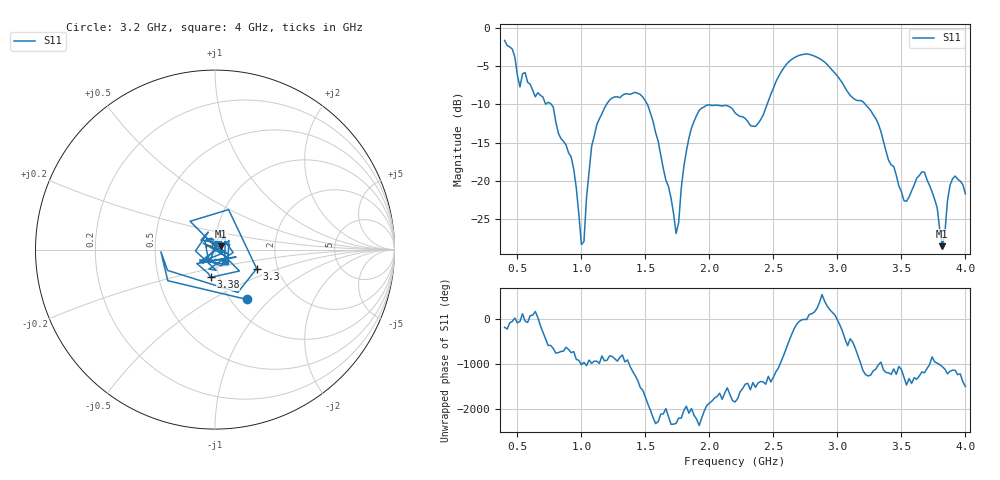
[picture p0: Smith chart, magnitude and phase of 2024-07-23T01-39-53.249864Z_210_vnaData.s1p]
!Created with skrf (http://scikit-rf.org).
# Hz S RI R 50.0
!freq ReS11 ImS11
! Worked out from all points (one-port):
!   181 points, 400 MHz to 4 GHz, reference 50 ohm
!   lowest |S11| = -28.5 dB at 3.82 GHz (marker M1), VSWR 1.08, Z = 53.4 + j1.94 ohm
!   |S11| at or under -10 dB: 764.3 MHz to 1.197 GHz (432.6 MHz wide, 44.1 % of centre); 1.515 GHz to 2.451 GHz (936.2 MHz wide, 47.2 % of centre); 3.218 GHz to end of sweep
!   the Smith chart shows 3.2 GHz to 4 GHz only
!   S11 on the Smith chart (normalised r, x): 3.2 GHz: 1.18, -0.73; 3.3 GHz: 1.56, -0.35; 3.38 GHz: 0.91, -0.29; 4 GHz: 1.11, -0.14
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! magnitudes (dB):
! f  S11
! 400 MHz  -1.7
! 520 MHz  -7.7
! 560 MHz  -5.9
! 760 MHz  -9.9
! 860 MHz  -14.8
! 940 MHz  -18.5
! 1 GHz  -28.3
! 1.02 GHz  -27.9
! 1.08 GHz  -15.5
! 1.12 GHz  -12.7
! 1.3 GHz  -9.1
! 1.52 GHz  -10.2
! 1.74 GHz  -26.8
! 1.76 GHz  -25.4
! 1.82 GHz  -16.1
! 1.92 GHz  -10.8
! 2.2 GHz  -11.1
! 2.36 GHz  -12.9
! 2.66 GHz  -4.0
! 3.1 GHz  -8.8
! 3.2 GHz  -9.7
! 3.3 GHz  -11.9
! 3.38 GHz  -16.1
! 3.56 GHz  -22.1
! 3.68 GHz  -18.8
! 3.82 GHz  -28.5
! 3.9 GHz  -19.7
! 4 GHz  -21.7
